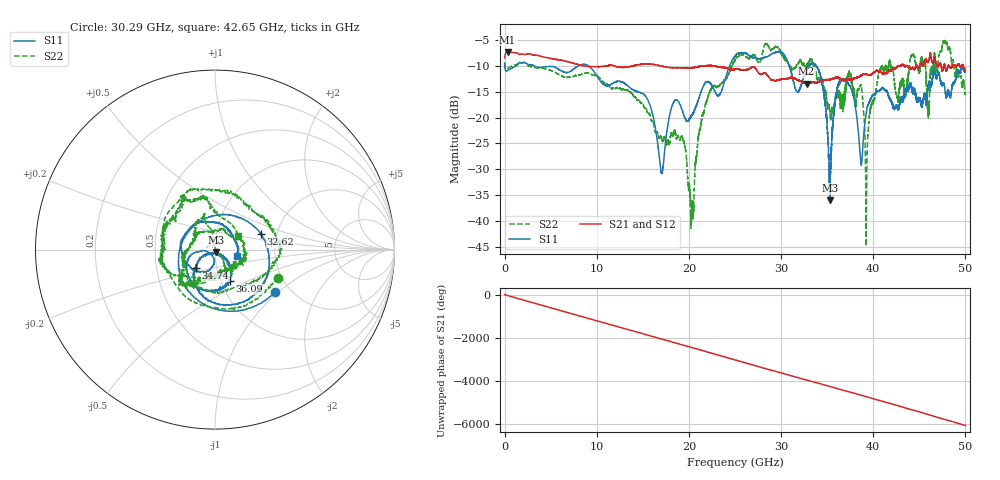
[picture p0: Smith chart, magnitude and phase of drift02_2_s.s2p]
!Created with skrf (http://scikit-rf.org).
# Hz S RI R 50.0
!freq ReS11 ImS11 ReS21 ImS21 ReS12 ImS12 ReS22 ImS22
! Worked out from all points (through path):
!   10001 points, 300 kHz to 50 GHz, reference 50 ohm
!   highest |S21| = -7.32 dB at 320.3 MHz (marker M1); lowest = -13.5 dB at 32.77 GHz (marker M2)
!   group delay of S21, straight-line fit = 335 ps
!   lowest |S11| = -36.0 dB at 35.33 GHz (marker M3), VSWR 1.03, Z = 50.4 - j1.54 ohm
!   |S11| at or under -10 dB: 3.242 GHz to 8.009 GHz (4.767 GHz wide, 84.7 % of centre); 9.101 GHz to 24.41 GHz (15.31 GHz wide, 91.4 % of centre); 33.83 GHz to end of sweep (the widest 3 of 11)
!   |S22| runs from -44.9 to -5.1 dB; largest |S21 - S12| = 0.016
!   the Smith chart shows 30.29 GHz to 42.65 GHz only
!   S11 on the Smith chart (normalised r, x): 30.29 GHz: 1.67, -0.95; 32.62 GHz: 1.65, +0.31; 34.74 GHz: 0.79, -0.17; 36.09 GHz: 1.10, -0.40; 42.65 GHz: 1.28, -0.09
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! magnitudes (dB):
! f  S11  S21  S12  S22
! 300 kHz  -9.4  -8.4  -8.4  -9.5
! 320.3 MHz  -10.9  -7.3  -7.3  -10.6
! 8.335 GHz  -9.7  -9.9  -9.9  -11.6
! 15.22 GHz  -15.7  -9.6  -9.6  -18.1
! 16.67 GHz  -25.9  -9.9  -9.9  -23.4
! 19.36 GHz  -19.0  -10.4  -10.3  -24.2
! 20.34 GHz  -19.5  -10.3  -10.4  -37.3
! 21.95 GHz  -13.1  -10.0  -9.9  -16.9
! 25 GHz  -8.1  -10.7  -10.7  -8.9
! 30.29 GHz  -7.8  -12.6  -12.6  -8.3
! 32.62 GHz  -11.4  -13.3  -13.3  -10.2
! 32.77 GHz  -10.8  -13.5  -13.5  -10.2
! 33.34 GHz  -9.6  -13.2  -13.2  -8.9
! 34.74 GHz  -16.6  -12.8  -12.7  -14.7
! 35.33 GHz  -36.0  -12.6  -12.6  -19.1
! 36.09 GHz  -14.3  -12.2  -12.1  -15.7
! 38.59 GHz  -27.4  -12.0  -12.0  -13.7
! 39.3 GHz  -18.4  -11.6  -11.6  -29.9
! 41.67 GHz  -15.9  -11.0  -11.1  -9.8
! 42.65 GHz  -17.8  -10.1  -10.0  -16.5
! 47.75 GHz  -14.1  -9.6  -9.7  -5.3
! 50 GHz  -11.1  -10.9  -10.9  -15.4
